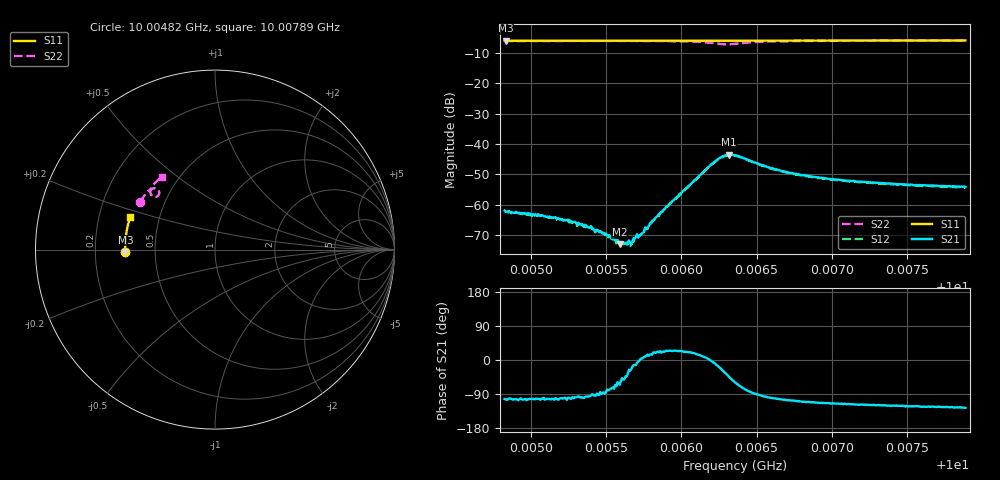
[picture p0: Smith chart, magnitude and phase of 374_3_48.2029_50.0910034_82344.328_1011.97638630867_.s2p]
#  HZ  S  RI  R  50.00
! Rohde & Schwarz Vector Network Analyzer
! Rohde-Schwarz,ZNB20-2Port,1311601062101988,3.16
! Created: UTC 3/20/2024, 11:52:50 AM
! freq[Hz]  re:S11  im:S11  re:S21  im:S21  re:S12  im:S12  re:S22  im:S22
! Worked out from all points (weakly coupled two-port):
!   401 points, 10.00482 GHz to 10.00789 GHz, reference 50 ohm
!   highest |S21| = -43.49 dB at 10.00632 GHz (marker M1); lowest = -73.0 dB at 10.00559 GHz (marker M2)
!   lowest |S11| = -6.0 dB at 10.00483 GHz (marker M3), VSWR 2.99, Z = 16.7 - j0.587 ohm
!   |S11| at or under -10 dB: nowhere
!   |S22| runs from -7.2 to -6.0 dB; largest |S21 - S12| = 0.00039
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1.0004823e10  -0.4991 -0.0138  -0.00018 -0.000787  -0.000136 -0.00075  -0.4156 0.2673
1.0004831e10  -0.4991 -0.0132  -0.000185 -0.000747  -0.000128 -0.000756  -0.4151 0.2677
1.0005076e10  -0.4998 0.00279  -0.000142 -0.000659  -0.000123 -0.000659  -0.4063 0.2822
1.0005253e10  -0.4999 0.0142  -9.88e-05 -0.000553  -4.94e-05 -0.000509  -0.3994 0.2927
1.0005337e10  -0.4998 0.0197  -6.82e-05 -0.000459  -3.95e-05 -0.000486  -0.3959 0.2977
1.0005505e10  -0.4997 0.0305  6.39e-05 -0.000307  6.57e-05 -0.000313  -0.3884 0.3078
1.0005544e10  -0.4998 0.0331  8.32e-05 -0.000257  9.72e-05 -0.000265  -0.3867 0.3102
1.000559e10  -0.4995 0.0362  9.37e-05 -0.000202  0.000132 -0.000206  -0.3843 0.3131
1.000562e10  -0.4993 0.0381  0.000145 -0.000177  0.000158 -0.000177  -0.3826 0.3149
1.0005651e10  -0.4993 0.0401  0.000235 -0.000114  0.000212 -9.52e-05  -0.381 0.3168
1.0005674e10  -0.4993 0.0417  0.000239 -7.34e-05  0.000225 -7.9e-05  -0.3798 0.3183
1.0005689e10  -0.4991 0.0426  0.000273 -6.43e-05  0.000255 -8.29e-05  -0.3789 0.3192
1.0005735e10  -0.499 0.0456  0.000334 2.16e-05  0.000345 2.86e-05  -0.3761 0.3221
1.000585e10  -0.4985 0.0529  0.000664 0.000246  0.000593 0.000285  -0.3683 0.3294
1.0006211e10  -0.4959 0.0762  0.00486 -0.000504  0.00479 -0.000244  -0.3153 0.3308
1.0006272e10  -0.4952 0.0799  0.00558 -0.0028  0.00555 -0.00246  -0.3114 0.3103
1.0006318e10  -0.4947 0.0827  0.00472 -0.00474  0.00483 -0.00437  -0.3215 0.2964
1.0006356e10  -0.4947 0.085  0.00337 -0.00561  0.00361 -0.0053  -0.3348 0.2926
1.0006602e10  -0.4927 0.1006  -0.000718 -0.00394  -0.000517 -0.00388  -0.3593 0.3294
1.000687e10  -0.4895 0.1177  -0.00108 -0.0027  -0.000977 -0.00269  -0.3479 0.354
1.0007384e10  -0.4816 0.1499  -0.00115 -0.00193  -0.00102 -0.00193  -0.3222 0.3837
1.000789e10  -0.472 0.1809  -0.00117 -0.00159  -0.00106 -0.00162  -0.2965 0.407
